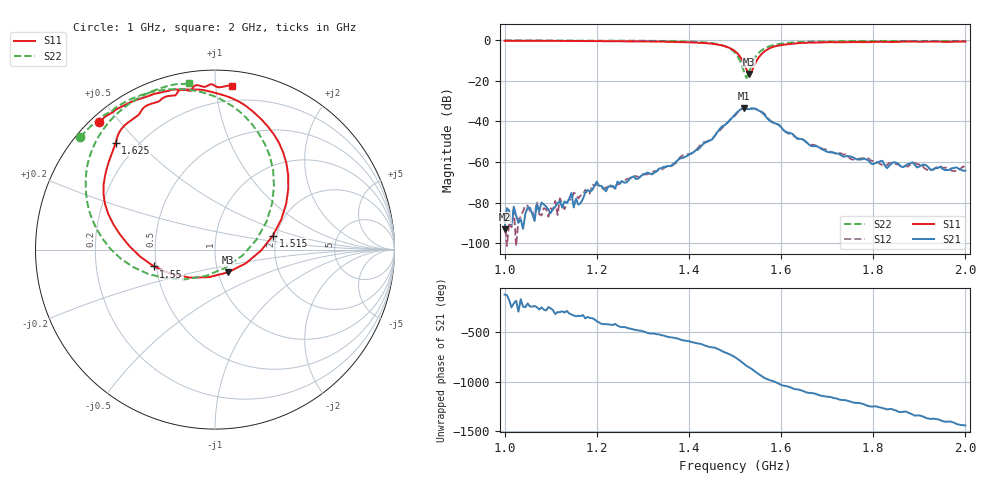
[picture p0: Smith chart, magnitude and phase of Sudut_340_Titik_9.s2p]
# Hz S RI R 50
! CMT, C1220, 16058040, 17.2.0/1
! Date: 14/08/2018 11:59:56
! Data: Format (Calibration Info)
! Freq  S11: Re/Im (F2)  S21: Re/Im (F2)  S12: Re/Im (F2)  S22: Re/Im (F2)
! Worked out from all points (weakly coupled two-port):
!   201 points, 1 GHz to 2 GHz, reference 50 ohm
!   highest |S21| = -33.45 dB at 1.52 GHz (marker M1); lowest = -93.2 dB at 1 GHz (marker M2)
!   lowest |S11| = -16.7 dB at 1.53 GHz (marker M3), VSWR 1.34, Z = 55.9 - j14.5 ohm
!   |S11| at or under -10 dB: 1.516 GHz to 1.548 GHz (31.64 MHz wide, 2.07 % of centre)
!   |S22| runs from -18.7 to -0.2 dB; largest |S21 - S12| = 0.00094
!   S11 on the Smith chart (normalised r, x): 1 GHz: 0.02, +0.44; 1.515 GHz: 1.91, +0.33; 1.55 GHz: 0.48, -0.10; 1.625 GHz: 0.12, +0.43; 2 GHz: 0.10, +1.10
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1e9  -0.6443 0.7124  -1.01e-05 -1.94e-05  3.85e-05 3.42e-06  -0.75 0.6268
1.135e9  -0.5046 0.8042  2.3e-05 9.55e-05  4.44e-05 8.55e-05  -0.6466 0.727
1.145e9  -0.496 0.809  0.000131 0.000112  4.57e-05 0.000105  -0.6372 0.7338
1.15e9  -0.4925 0.8108  6.57e-05 3.89e-05  0.000125 0.000124  -0.6325 0.7376
1.17e9  -0.4708 0.8208  0.000102 7.02e-05  0.000155 1.57e-05  -0.6123 0.7521
1.2e9  -0.4279 0.8364  0.00029 -0.000153  0.000243 -0.000139  -0.5781 0.7656
1.22e9  -0.4082 0.8429  0.000104 -0.000159  0.000144 -0.000185  -0.5673 0.779
1.335e9  -0.2131 0.8918  -0.000651 -0.000224  -0.000642 -9.15e-05  -0.3957 0.8659
1.45e9  0.181 0.7936  0.00135 0.0033  0.00163 0.00326  0.0269 0.8398
1.5e9  0.4084 0.3396  0.0125 -0.00771  0.0118 -0.00724  0.3287 0.352
1.515e9  0.3224 0.0779  0.00247 -0.0203  0.00304 -0.0204  0.2316 0.0563
1.52e9  0.2563 -0.00571  -0.00452 -0.0208  -0.00426 -0.0211  0.1554 -0.0309
1.525e9  0.1714 -0.0767  -0.0102 -0.0177  -0.0102 -0.018  0.0593 -0.1004
1.53e9  0.0727 -0.1267  -0.0137 -0.0145  -0.0139 -0.0147  -0.0494 -0.1464
1.55e9  -0.341 -0.0936  -0.0177 0.00619  -0.018 0.00559  -0.4572 -0.0968
1.58e9  -0.6129 0.2546  5.94e-05 0.00945  0.000523 0.00981  -0.7016 0.2181
1.625e9  -0.5533 0.5962  0.00477 0.00113  0.00446 0.00119  -0.6967 0.5222
1.67e9  -0.4407 0.7393  0.00193 -0.0015  0.00211 -0.00159  -0.6201 0.6736
1.755e9  -0.2818 0.8495  -0.000818 -0.00104  -0.000695 -0.000905  -0.4835 0.8084
1.835e9  -0.1463 0.8854  -0.000772 0.000243  -0.000918 0.000262  -0.3703 0.8735
1.92e9  -0.0303 0.9188  0.000298 0.000678  0.000215 0.000583  -0.2519 0.9147
2e9  0.0929 0.9118  0.000614 -3.79e-05  0.000745 -8.31e-05  -0.1468 0.931
